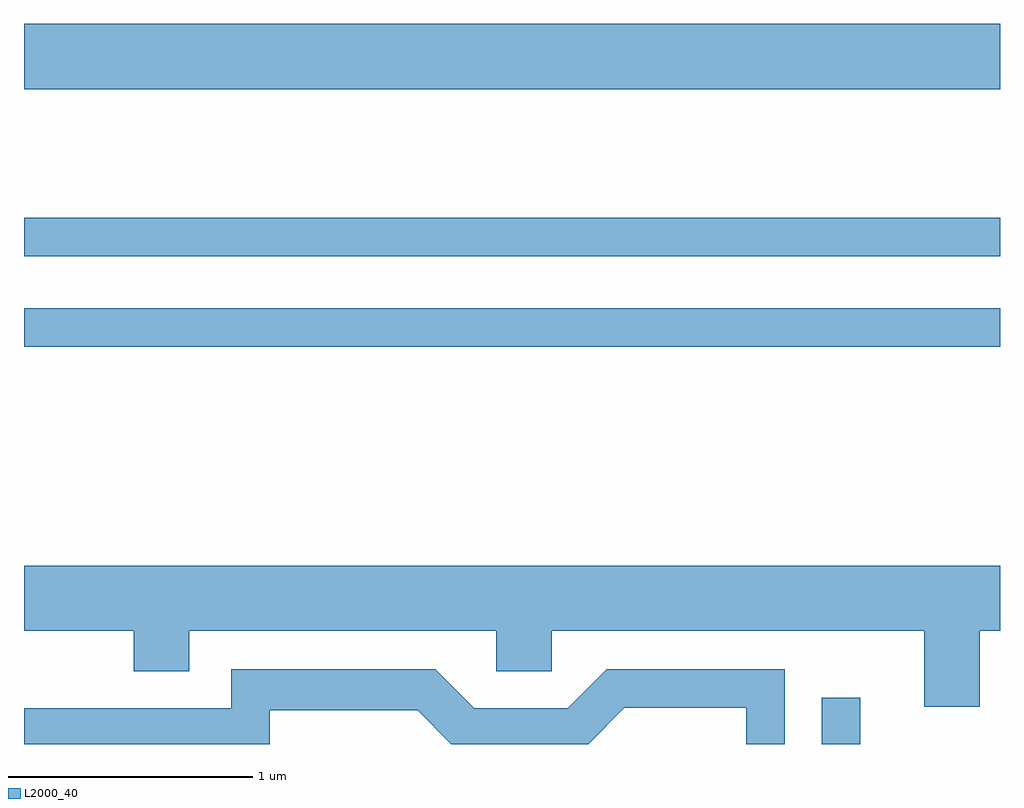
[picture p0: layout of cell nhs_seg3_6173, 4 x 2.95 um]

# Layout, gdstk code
import gdstk
lib = gdstk.Library(unit=1e-6, precision=1e-09)
def R(c, l, rs):  # rectangles x0, y0, x1, y1
    for r in rs: c.add(gdstk.rectangle(r[:2], r[2:], *l))
def P(c, l, *ps):  # polygons
    for p in ps: c.add(gdstk.Polygon(p, *l))
L2000_40 = (2000, 40)

nhs_seg3_6173 = lib.new_cell('nhs_seg3_6173')
R(nhs_seg3_6173, L2000_40, [(368.881,1229.892,369.039,1230.083), (365.611,1231.521,369.611,1231.679), (365.611,1231.891,369.611,1232.049), (365.611,1232.576,369.611,1232.844)])
P(nhs_seg3_6173, L2000_40, [(369.529,1230.356),(369.611,1230.356),(369.611,1230.624),(365.611,1230.624),(365.611,1230.356),(366.061,1230.356),(366.061,1230.191),(366.289,1230.191),(366.289,1230.356),(367.546,1230.356),(367.546,1230.191),(367.774,1230.191),(367.774,1230.356),(369.301,1230.356),(369.301,1230.046),(369.529,1230.046)],
  [(366.619,1230.031),(367.224,1230.031),(367.363,1229.892),(367.923,1229.892),(368.072,1230.041),(368.571,1230.041),(368.571,1229.892),(368.729,1229.892),(368.729,1230.199),(367.999,1230.199),(367.839,1230.039),(367.457,1230.039),(367.297,1230.199),(366.461,1230.199),(366.461,1230.039),(365.611,1230.039),(365.611,1229.892),(366.619,1229.892)])

lib.write_gds('nhs_seg3_6173.gds')
